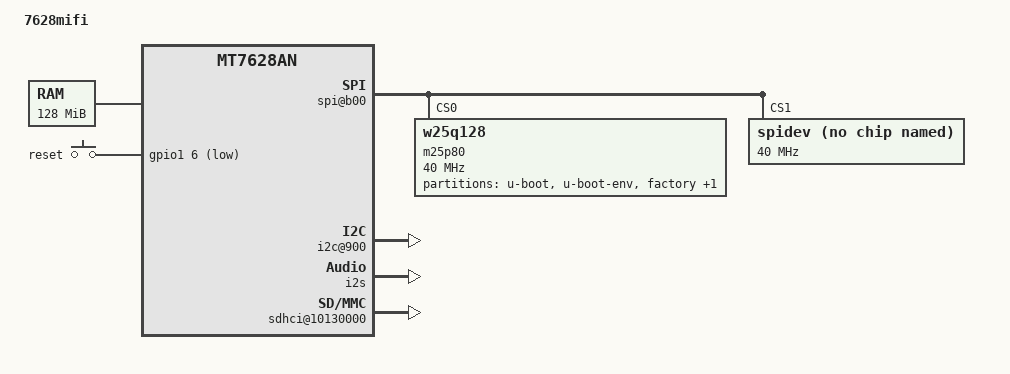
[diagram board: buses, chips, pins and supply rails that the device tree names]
/dts-v1/;

/include/ "mt7628an.dtsi"

/ {
	compatible = "mediatek,wifi_audio", "mediatek,mt7628an-soc";
	model = "7628mifi";

	chosen {
		bootargs = "console=ttyS0,57600";
	};

	memory@0 {
		device_type = "memory";
		reg = <0x0 0x8000000>;
	};

	pinctrl {
		state_default: pinctrl0 {



			wled_an {
				ralink,group = "wled_an";
				ralink,function = "wled_an";
			};
			i2s {
				ralink,group = "i2s";
				ralink,function = "i2s";
			};
			i2c {
				ralink,group = "i2c";
				ralink,function = "i2c";
			};
		};
	};

	palmbus@10000000 {
		spi@b00 {
			status = "okay";

			pinctrl-names = "default";
			pinctrl-0 = <&spi_pins>, <&spi_cs1_pins>;

			m25p80@0 {
				#address-cells = <1>;
				#size-cells = <1>;
				compatible = "w25q128";
				reg = <0 0>;
				linux,modalias = "m25p80", "w25q128";
				spi-max-frequency = <40000000>;
				m25p,chunked-io = <31>;

				partition@0 {
					label = "u-boot";
					reg = <0x0 0x30000>;
					#read-only;
				};

				partition@30000 {
					label = "u-boot-env";
					reg = <0x30000 0x10000>;
				};

				factory: partition@40000 {
					label = "factory";
					reg = <0x40000 0x10000>;
					#read-only;
				};

				partition@50000 {
					label = "firmware";
					reg = <0x50000 0xfb0000>;
				};
			};

			spidev@1 {
				#address-cells = <1>;
				#size-cells = <1>;
				compatible = "spidev";
				reg = <1 0>;
				spi-max-frequency = <40000000>;
			};
		};

		i2c@900 {
			status = "okay";
		};

		i2s: i2s@a00 {
			status = "okay";
		};

		uart1@d00 {
			status = "disabled";
		};

		uart2@e00 {
			status = "disabled";
		};


	};

	ethernet@10100000 {
		mtd-mac-address = <&factory 0x28>;
	};

	sdhci@10130000 {
		status = "okay";
		mediatek,cd-low;
//		mediatek,cd-poll;
	};

	gpio-keys-polled {
		compatible = "gpio-keys-polled";
		#address-cells = <1>;
		#size-cells = <0>;
		poll-interval = <20>;

		reset {
			label = "reset";
			gpios = <&gpio1 6 1>;
			linux,code = <0x198>;
		};
	};

};
